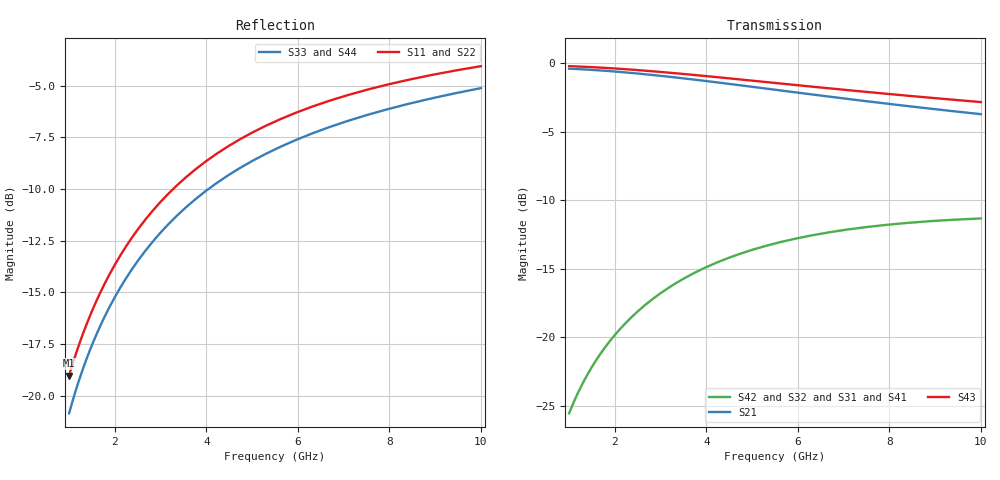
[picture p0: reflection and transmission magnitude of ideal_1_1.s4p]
! Synthetic ideal circuit; generated by generate_synthetic.py
# Hz S RI R 50
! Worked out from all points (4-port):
!   41 points, 1 GHz to 10 GHz, reference 50 ohm
!   strongest paths, dB at 1 GHz, 1.778 GHz, 3.162 GHz, 5.623 GHz, 10 GHz:
!     S43: -0.2, -0.4, -0.7, -1.5, -2.8
!     S21: -0.4, -0.6, -1.0, -2.0, -3.7
!     S42: -25.5, -20.8, -16.4, -13.1, -11.3
!     S32: -25.5, -20.8, -16.4, -13.1, -11.3
!     S31: -25.5, -20.8, -16.4, -13.1, -11.3
!     S41: -25.5, -20.8, -16.4, -13.1, -11.3
!   lowest |S11| = -19.0 dB at 1 GHz (marker M1), VSWR 1.25, Z = 54.4 + j10.9 ohm
!   |S11| at or under -10 dB: start of sweep to 3.278 GHz
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1e9  0.0525 0.0987  0.9475 -0.1063  0.0105 0.0518  -0.0105 -0.0518
     0.9475 -0.1063  0.0525 0.0987  -0.0105 -0.0518  0.0105 0.0518
     0.0105 0.0518  -0.0105 -0.0518  0.0307 0.0852  0.9692 -0.0928
     -0.0105 -0.0518  0.0105 0.0518  0.9692 -0.0928  0.0307 0.0852
1.496236e9  0.069 0.1441  0.9309 -0.1554  0.0228 0.0745  -0.0228 -0.0745
            0.9309 -0.1554  0.069 0.1441  -0.0228 -0.0745  0.0228 0.0745
            0.0228 0.0745  -0.0228 -0.0745  0.0439 0.1248  0.9561 -0.1361
            -0.0228 -0.0745  0.0228 0.0745  0.9561 -0.1361  0.0439 0.1248
2.113489e9  0.0967 0.1951  0.9032 -0.211  0.0432 0.0982  -0.0432 -0.0982
            0.9032 -0.211  0.0967 0.1951  -0.0432 -0.0982  0.0432 0.0982
            0.0432 0.0982  -0.0432 -0.0982  0.066 0.1697  0.9339 -0.1856
            -0.0432 -0.0982  0.0432 0.0982  0.9339 -0.1856  0.066 0.1697
2.985383e9  0.1452 0.2546  0.8545 -0.2771  0.0782 0.1213  -0.0782 -0.1213
            0.8545 -0.2771  0.1452 0.2546  -0.0782 -0.1213  0.0782 0.1213
            0.0782 0.1213  -0.0782 -0.1213  0.1049 0.2235  0.8948 -0.2461
            -0.0782 -0.1213  0.0782 0.1213  0.8948 -0.2461  0.1049 0.2235
3.981072e9  0.2072 0.3042  0.7923 -0.3342  0.121 0.1329  -0.121 -0.1329
            0.7923 -0.3342  0.2072 0.3042  -0.121 -0.1329  0.121 0.1329
            0.121 0.1329  -0.121 -0.1329  0.1553 0.2708  0.8442 -0.3008
            -0.121 -0.1329  0.121 0.1329  0.8442 -0.3008  0.1553 0.2708
6.309573e9  0.3475 0.3593  0.6514 -0.4068  0.2064 0.1133  -0.2064 -0.1133
            0.6514 -0.4068  0.3475 0.3593  -0.2064 -0.1133  0.2064 0.1133
            0.2064 0.1133  -0.2064 -0.1133  0.2726 0.3332  0.7262 -0.3807
            -0.2064 -0.1133  0.2064 0.1133  0.7262 -0.3807  0.2726 0.3332
1e10  0.5129 0.3596  0.4843 -0.4348  0.2695 0.0305  -0.2695 -0.0305
      0.4843 -0.4348  0.5129 0.3596  -0.2695 -0.0305  0.2695 0.0305
      0.2695 0.0305  -0.2695 -0.0305  0.4223 0.3589  0.5748 -0.4342
      -0.2695 -0.0305  0.2695 0.0305  0.5748 -0.4342  0.4223 0.3589
